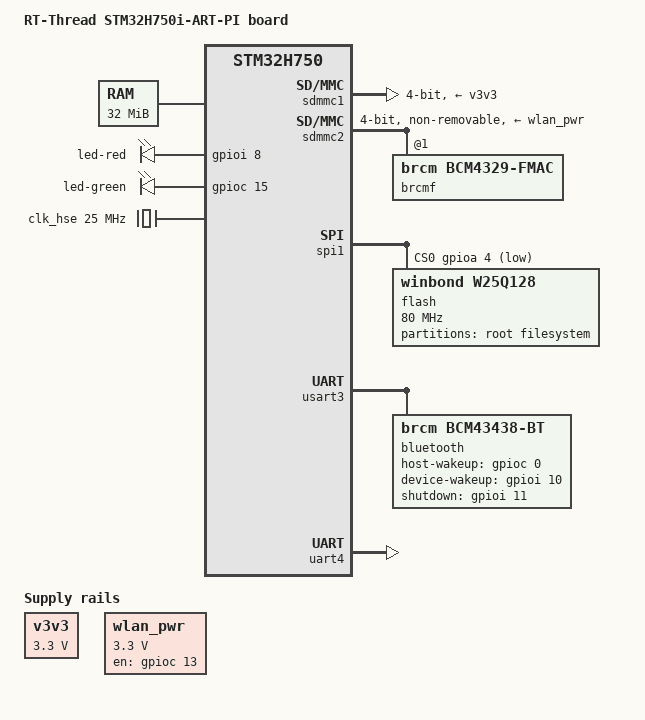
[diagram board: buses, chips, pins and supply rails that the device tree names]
/*
 * Copyright 2021 - Dillon Min <dillon.minfei@gmail.com>
 *
 * This file is dual-licensed: you can use it either under the terms
 * of the GPL or the X11 license, at your option. Note that this dual
 * licensing only applies to this file, and not this project as a
 * whole.
 *
 *  a) This file is free software; you can redistribute it and/or
 *     modify it under the terms of the GNU General Public License as
 *     published by the Free Software Foundation; either version 2 of the
 *     License, or (at your option) any later version.
 *
 *     This file is distributed in the hope that it will be useful,
 *     but WITHOUT ANY WARRANTY; without even the implied warranty of
 *     MERCHANTABILITY or FITNESS FOR A PARTICULAR PURPOSE.  See the
 *     GNU General Public License for more details.
 *
 * Or, alternatively,
 *
 *  b) Permission is hereby granted, free of charge, to any person
 *     obtaining a copy of this software and associated documentation
 *     files (the "Software"), to deal in the Software without
 *     restriction, including without limitation the rights to use,
 *     copy, modify, merge, publish, distribute, sublicense, and/or
 *     sell copies of the Software, and to permit persons to whom the
 *     Software is furnished to do so, subject to the following
 *     conditions:
 *
 *     The above copyright notice and this permission notice shall be
 *     included in all copies or substantial portions of the Software.
 *
 *     THE SOFTWARE IS PROVIDED "AS IS", WITHOUT WARRANTY OF ANY KIND,
 *     EXPRESS OR IMPLIED, INCLUDING BUT NOT LIMITED TO THE WARRANTIES
 *     OF MERCHANTABILITY, FITNESS FOR A PARTICULAR PURPOSE AND
 *     NONINFRINGEMENT. IN NO EVENT SHALL THE AUTHORS OR COPYRIGHT
 *     HOLDERS BE LIABLE FOR ANY CLAIM, DAMAGES OR OTHER LIABILITY,
 *     WHETHER IN AN ACTION OF CONTRACT, TORT OR OTHERWISE, ARISING
 *     FROM, OUT OF OR IN CONNECTION WITH THE SOFTWARE OR THE USE OR
 *     OTHER DEALINGS IN THE SOFTWARE.
 *
 * For art-pi board resources, you can refer to link:
 * 	https://art-pi.gitee.io/website/
 */

/dts-v1/;
#include "stm32h750.dtsi"
#include "stm32h7-pinctrl.dtsi"
#include <dt-bindings/interrupt-controller/irq.h>
#include <dt-bindings/gpio/gpio.h>

/ {
	model = "RT-Thread STM32H750i-ART-PI board";
	compatible = "st,stm32h750i-art-pi", "st,stm32h750";

	chosen {
		bootargs = "root=/dev/ram";
		stdout-path = "serial0:2000000n8";
	};

	memory@c0000000 {
		device_type = "memory";
		reg = <0xc0000000 0x2000000>;
	};

	reserved-memory {
		#address-cells = <1>;
		#size-cells = <1>;
		ranges;

		linux,cma {
			compatible = "shared-dma-pool";
			no-map;
			size = <0x100000>;
			linux,dma-default;
		};
	};

	aliases {
		serial0 = &uart4;
		serial1 = &usart3;
	};

	leds {
		compatible = "gpio-leds";
		led-red {
			gpios = <&gpioi 8 0>;
		};
		led-green {
			gpios = <&gpioc 15 0>;
			linux,default-trigger = "heartbeat";
		};
	};

	v3v3: regulator-v3v3 {
		compatible = "regulator-fixed";
		regulator-name = "v3v3";
		regulator-min-microvolt = <3300000>;
		regulator-max-microvolt = <3300000>;
		regulator-always-on;
	};

	wlan_pwr: regulator-wlan {
		compatible = "regulator-fixed";

		regulator-name = "wl-reg";
		regulator-min-microvolt = <3300000>;
		regulator-max-microvolt = <3300000>;

		gpios = <&gpioc 13 GPIO_ACTIVE_HIGH>;
		enable-active-high;
	};
};

&clk_hse {
	clock-frequency = <25000000>;
};

&dma1 {
	status = "okay";
};

&dma2 {
	status = "okay";
};

&mac {
	status = "disabled";
	pinctrl-0 = <&ethernet_rmii>;
	pinctrl-names = "default";
	phy-mode = "rmii";
	phy-handle = <&phy0>;

	mdio0 {
		#address-cells = <1>;
		#size-cells = <0>;
		compatible = "snps,dwmac-mdio";
		phy0: ethernet-phy@0 {
			reg = <0>;
		};
	};
};

&sdmmc1 {
	pinctrl-names = "default", "opendrain", "sleep";
	pinctrl-0 = <&sdmmc1_b4_pins_a>;
	pinctrl-1 = <&sdmmc1_b4_od_pins_a>;
	pinctrl-2 = <&sdmmc1_b4_sleep_pins_a>;
	broken-cd;
	st,neg-edge;
	bus-width = <4>;
	vmmc-supply = <&v3v3>;
	status = "okay";
};

&sdmmc2 {
	pinctrl-names = "default", "opendrain", "sleep";
	pinctrl-0 = <&sdmmc2_b4_pins_a>;
	pinctrl-1 = <&sdmmc2_b4_od_pins_a>;
	pinctrl-2 = <&sdmmc2_b4_sleep_pins_a>;
	broken-cd;
	non-removable;
	st,neg-edge;
	bus-width = <4>;
	vmmc-supply = <&wlan_pwr>;
	status = "okay";

	#address-cells = <1>;
	#size-cells = <0>;
	brcmf: bcrmf@1 {
		reg = <1>;
		compatible = "brcm,bcm4329-fmac";
	};
};

&spi1 {
	status = "okay";
	pinctrl-0 = <&spi1_pins>;
	pinctrl-names = "default";
	cs-gpios = <&gpioa 4 GPIO_ACTIVE_LOW>;
	dmas = <&dmamux1 37 0x400 0x05>,
	       <&dmamux1 38 0x400 0x05>;
	dma-names = "rx", "tx";

	flash@0 {
		#address-cells = <1>;
		#size-cells = <1>;
		compatible = "winbond,w25q128", "jedec,spi-nor";
		reg = <0>;
		spi-max-frequency = <80000000>;

		partition@0 {
			label = "root filesystem";
			reg = <0 0x1000000>;
		};
	};
};

&usart2 {
	pinctrl-0 = <&usart2_pins>;
	pinctrl-names = "default";
	status = "disabled";
};

&usart3 {
	pinctrl-names = "default";
	pinctrl-0 = <&usart3_pins>;
	dmas = <&dmamux1 45 0x400 0x05>,
	       <&dmamux1 46 0x400 0x05>;
	dma-names = "rx", "tx";
	uart-has-rtscts;
	status = "okay";

	bluetooth {
		compatible = "brcm,bcm43438-bt";
		host-wakeup-gpios = <&gpioc 0 GPIO_ACTIVE_HIGH>;
		device-wakeup-gpios = <&gpioi 10 GPIO_ACTIVE_HIGH>;
		shutdown-gpios = <&gpioi 11 GPIO_ACTIVE_HIGH>;
		max-speed = <115200>;
	};
};

&uart4 {
	pinctrl-0 = <&uart4_pins>;
	pinctrl-names = "default";
	status = "okay";
};


